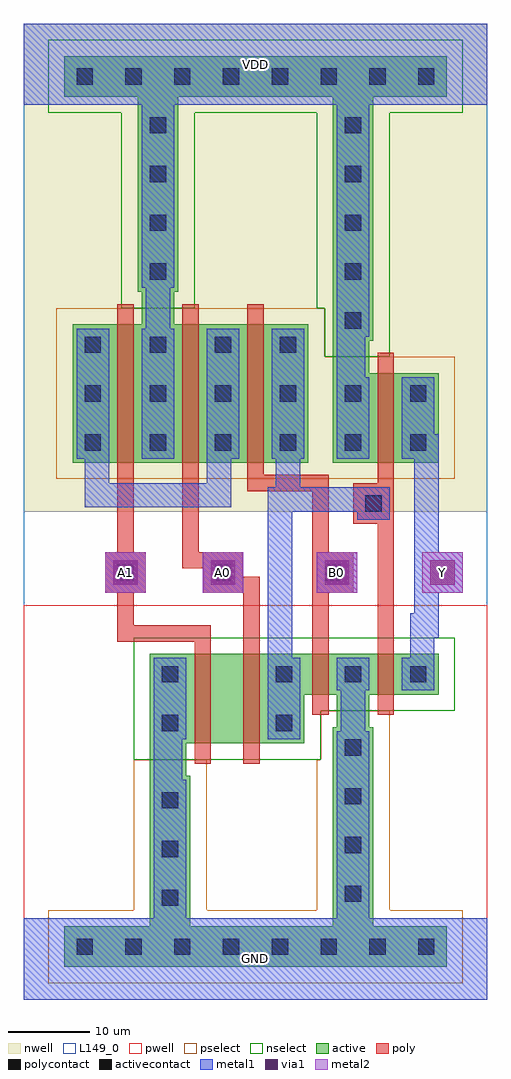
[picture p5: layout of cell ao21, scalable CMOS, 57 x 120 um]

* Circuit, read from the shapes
.subckt ao21 A0 A1 B0 GND VDD Y
M1 n1 A1 GND GND nfet w=11u l=2u
M2 n2 A0 n1 GND nfet w=11u l=2u
M3 GND B0 n2 GND nfet w=5u l=2u
M4 Y n2 GND GND nfet w=5u l=2u
M5 VDD A1 n3 VDD pfet w=17u l=2u
M6 n3 A0 VDD VDD pfet w=17u l=2u
M7 n2 B0 n3 VDD pfet w=17u l=2u
M8 Y n2 VDD VDD pfet w=11u l=2u
.ends

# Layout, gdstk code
from math import pi, radians
import gdstk
lib = gdstk.Library(unit=1e-6, precision=1e-09)
def R(c, l, rs):  # rectangles x0, y0, x1, y1
    for r in rs: c.add(gdstk.rectangle(r[:2], r[2:], *l))
def A(c, l, x, y, w, h, nx, ny, dx, dy):  # array of equal rectangles
    R(c, l, [(x+i*dx, y+j*dy, x+i*dx+w, y+j*dy+h) for i in range(nx) for j in range(ny)])
def P(c, l, *ps):  # polygons
    for p in ps: c.add(gdstk.Polygon(p, *l))
pwell = (41, 0)
nwell = (42, 0)
active = (43, 0)
pselect = (44, 0)
nselect = (45, 0)
poly = (46, 0)
polycontact = (47, 0)
activecontact = (48, 0)
metal1 = (49, 0)
via1 = (50, 0)
metal2 = (51, 0)
L149_0 = (149, 0)

via = lib.new_cell('via')
R(via, metal1, [(-2.5,-2.5,2.5,2.5)])
R(via, via1, [(-1.5,-1.5,1.5,1.5)])
R(via, metal2, [(-2.5,-2.5,2.5,2.5)])

ao21 = lib.new_cell('ao21')
R(ao21, pwell, [(0,0,57,48.5)])
P(ao21, pwell, [(40.5,25.5),(40.5,31.5),(57,31.5),(57,48.5),(9.5,48.5),(9.5,25.5)])
R(ao21, nwell, [(0,60,41,89), (0,60,57,120), (32,60,57,83)])
R(ao21, active, [(5,4,52,9), (15.5,9,20.5,27.5), (38,9,43,33.5), (15.5,27.5,20,31.5), (15.5,31.5,21,42.5), (38.5,33.5,42.5,37.5), (45.5,37.5,51,42.5), (6,66,11.5,83), (6,66,35,83), (29.5,66,35,83), (38,66,43.5,77), (38,66,51,77), (45.5,66,51,77), (38,77,42.5,81), (38,81,43,111), (14.5,83,18.5,87), (14,87,19,111), (5,111,52,116)])
P(ao21, active, [(34.5,31.5),(34.5,37.5),(51,37.5),(51,42.5),(15.5,42.5),(15.5,31.5)])
R(ao21, pselect, [(3,2,54,11), (13.5,11,22.5,29.5), (4,64,37,85), (36,64,53,79)])
P(ao21, pselect, [(36,11),(45,11),(45,35.5),(36.5,35.5),(36.5,29.5),(36,29.5)])
R(ao21, nselect, [(12,85,21,109), (3,109,54,118)])
P(ao21, nselect, [(36.5,29.5),(36.5,35.5),(53,35.5),(53,44.5),(13.5,44.5),(13.5,29.5)],
  [(36,85),(37,85),(37,79),(45,79),(45,109),(36,109)])
A(ao21, poly, 11.5, 63.5, 2, 2.5, 3, 2, 8, 19.5)
A(ao21, poly, 11.5, 66, 2, 17, 3, 1, 8, 0)
R(ao21, poly, [(21,29,23,31.5), (27,29,29,31.5), (21,31.5,23,42.5), (27,31.5,29,42.5), (35.5,35,37.5,37.5), (43.5,35,45.5,37.5), (35.5,37.5,37.5,42.5), (43.5,37.5,45.5,42.5), (21,42.5,23,45), (27,42.5,29,45), (35.5,42.5,37.5,45), (43.5,42.5,45.5,45), (10,50,15,55), (22,50,27,55), (35.5,50,40.5,55), (40.5,58.5,45.5,63.5), (43.5,63.5,45.5,66), (43.5,66,45.5,77), (43.5,77,45.5,79.5)])
R(ao21, polycontact, [(11.5,51.5,13.5,53.5), (23.5,51.5,25.5,53.5), (37,51.5,39,53.5), (42,60,44,62)])
A(ao21, activecontact, 6.5, 5.5, 2, 2, 8, 2, 6, 107)
A(ao21, activecontact, 17, 11.5, 2, 2, 1, 3, 0, 6)
A(ao21, activecontact, 39.5, 12, 2, 2, 1, 4, 0, 6)
A(ao21, activecontact, 7.5, 67.5, 2, 2, 6, 2, 8, 6)
A(ao21, activecontact, 7.5, 79.5, 2, 2, 4, 1, 8, 0)
A(ao21, activecontact, 39.5, 82.5, 2, 2, 1, 5, 0, 6)
A(ao21, activecontact, 15.5, 88.5, 2, 2, 1, 4, 0, 6)
R(ao21, activecontact, [(17,33,19,35), (31,33,33,35), (17,39,19,41), (31,39,33,41), (39.5,39,41.5,41), (47.5,39,49.5,41)])
A(ao21, metal1, 6.5, 66.5, 4, 16, 4, 1, 8, 0)
R(ao21, metal1, [(0,0,57,10), (0,0,57,10), (16,10,20,27), (38.5,10,42.5,33), (16,27,19.5,32), (16,32,20,42), (30,32,34,42), (39,33,42,38), (38.5,38,42.5,42), (46.5,38,50.5,42), (10.5,50.5,14.5,54.5), (22.5,50.5,26.5,54.5), (36,50.5,40,54.5), (41,59,45,63), (38.5,66.5,42.5,76.5), (46.5,66.5,50.5,76.5), (38.5,76.5,42,81.5), (38.5,81.5,42.5,110), (15,82.5,18,87.5), (14.5,87.5,18.5,110), (0,110,57,120), (0,110,57,120)])
R(ao21, metal2, [(10,50,15,55), (22,50,27,55), (36,50,41,55), (49,50,54,55)])
R(ao21, L149_0, [(0,0,57,120)])
ao21.add(gdstk.FlexPath([(32.5,66.5),(32.5,61.5),(31.5,61.5),(31.5,42)], 3, ends="flush", simple_path=True, layer=49, datatype=0))  # metal1
ao21.add(gdstk.FlexPath([(9,66.5),(9,62),(24,62),(24,66.5)], 3, ends="flush", simple_path=True, layer=49, datatype=0))  # metal1
ao21.add(gdstk.FlexPath([(49.5,69.5),(49.5,46),(49,46),(49,42)], 3, ends="flush", simple_path=True, layer=49, datatype=0))  # metal1
ao21.add(gdstk.FlexPath([(34,61.5),(41,61.5)], 3, ends="flush", simple_path=True, layer=49, datatype=0))  # metal1
ao21.add(gdstk.FlexPath([(28,45),(28,52)], 2, ends="flush", simple_path=True, layer=46, datatype=0))  # poly
ao21.add(gdstk.FlexPath([(23,45),(12.5,45),(12.5,63.5)], 2, ends="flush", simple_path=True, layer=46, datatype=0))  # poly
ao21.add(gdstk.FlexPath([(27.5,63.5),(36.5,63.5),(36.5,45)], 2, ends="flush", simple_path=True, layer=46, datatype=0))  # poly
ao21.add(gdstk.FlexPath([(20.5,63.5),(20.5,54),(24,54)], 2, ends="flush", simple_path=True, layer=46, datatype=0))  # poly
ao21.add(gdstk.FlexPath([(44.5,63.5),(44.5,45)], 2, ends="flush", simple_path=True, layer=46, datatype=0))  # poly
ao21.add(gdstk.Reference(via, (38.5,52.5), rotation=pi, x_reflection=True))
ao21.add(gdstk.Reference(via, (51.5,52.5), rotation=pi, x_reflection=True))
ao21.add(gdstk.Reference(via, (12.5,52.5), rotation=pi, x_reflection=True))
ao21.add(gdstk.Reference(via, (24.5,52.5), rotation=pi, x_reflection=True))
ao21.add(gdstk.Label('GND', (28.5,5), layer=2, texttype=0))
ao21.add(gdstk.Label('VDD', (28.5,115), layer=2, texttype=0))
ao21.add(gdstk.Label('A0', (24.5,52.5), layer=3, texttype=0))
ao21.add(gdstk.Label('A1', (12.5,52.5), layer=3, texttype=0))
ao21.add(gdstk.Label('Y', (51.5,52.5), layer=3, texttype=0))
ao21.add(gdstk.Label('B0', (38.5,52.5), layer=3, texttype=0))
ao21.add(gdstk.Label('A0', (24.5,52.5), layer=3, texttype=0))
ao21.add(gdstk.Label('A1', (12.5,52.5), layer=3, texttype=0))
ao21.add(gdstk.Label('VDD', (28.5,115), layer=2, texttype=0))
ao21.add(gdstk.Label('GND', (28.5,5), layer=2, texttype=0))
ao21.add(gdstk.Label('Y', (51.5,52.5), layer=3, texttype=0))
ao21.add(gdstk.Label('B0', (38.5,52.5), layer=3, texttype=0))

lib.write_gds('ao21.gds')
